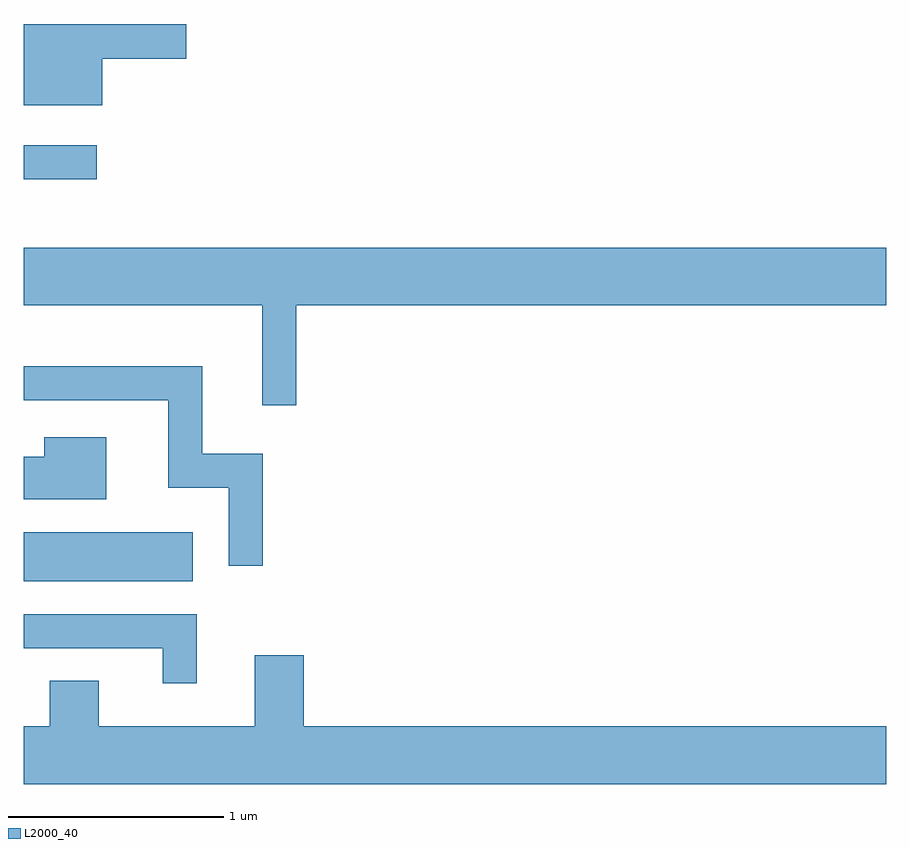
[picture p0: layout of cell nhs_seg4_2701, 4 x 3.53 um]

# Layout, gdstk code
import gdstk
lib = gdstk.Library(unit=1e-6, precision=1e-09)
def R(c, l, rs):  # rectangles x0, y0, x1, y1
    for r in rs: c.add(gdstk.rectangle(r[:2], r[2:], *l))
def P(c, l, *ps):  # polygons
    for p in ps: c.add(gdstk.Polygon(p, *l))
L2000_40 = (2000, 40)

nhs_seg4_2701 = lib.new_cell('nhs_seg4_2701')
R(nhs_seg4_2701, L2000_40, [(263.611,1353.396,264.394,1353.624), (263.611,1355.261,263.948,1355.419)])
P(nhs_seg4_2701, L2000_40, [(263.974,1355.821),(264.364,1355.821),(264.364,1355.982),(263.611,1355.982),(263.611,1355.606),(263.974,1355.606)],
  [(264.874,1354.676),(267.611,1354.676),(267.611,1354.944),(263.611,1354.944),(263.611,1354.676),(264.716,1354.676),(264.716,1354.213),(264.874,1354.213)],
  [(264.719,1353.989),(264.439,1353.989),(264.439,1354.394),(263.611,1354.394),(263.611,1354.236),(264.281,1354.236),(264.281,1353.831),(264.561,1353.831),(264.561,1353.468),(264.719,1353.468)],
  [(263.994,1354.064),(263.706,1354.064),(263.706,1353.974),(263.611,1353.974),(263.611,1353.776),(263.994,1353.776)],
  [(264.414,1353.244),(263.611,1353.244),(263.611,1353.086),(264.256,1353.086),(264.256,1352.923),(264.414,1352.923)],
  [(267.611,1352.724),(264.909,1352.724),(264.909,1353.054),(264.681,1353.054),(264.681,1352.724),(263.959,1352.724),(263.959,1352.934),(263.731,1352.934),(263.731,1352.724),(263.611,1352.724),(263.611,1352.456),(267.611,1352.456)])

lib.write_gds('nhs_seg4_2701.gds')
